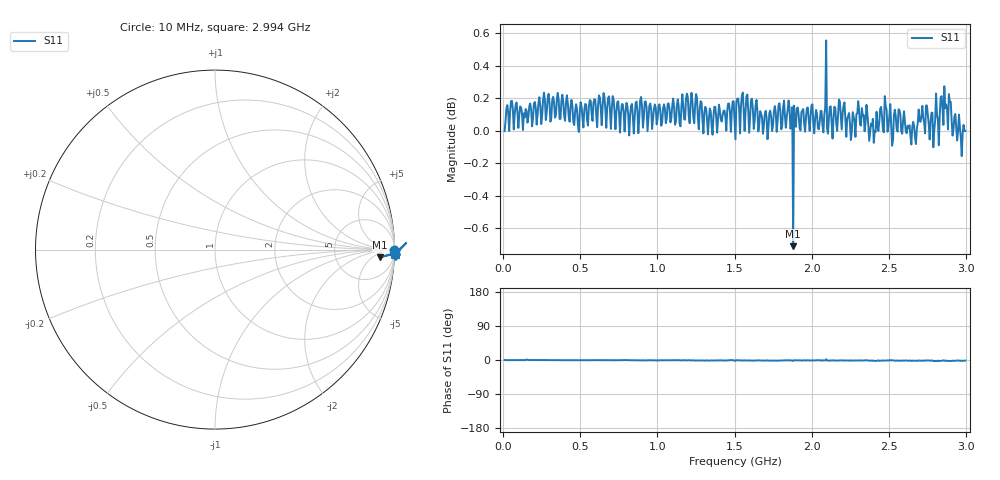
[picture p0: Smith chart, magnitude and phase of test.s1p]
# HZ S RI R 50
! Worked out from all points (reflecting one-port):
!   504 points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, 10 MHz to 2.994 GHz, reference 50 ohm
!   lowest |S11| = -0.7 dB at 1.879 GHz (marker M1), VSWR 24.44, Z = 928 - j522 ohm
!   phase of S11 starts at -0 deg and turns -1 deg over the sweep
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1e7  0.9997 -0.000436
1.583135e8  1.006 0.0174
3.8375e8  1.026 -0.0113
7.575e8  0.9986 -0.00662
9.117461e8  1.009 -0.0193
1.13125e9  1.022 -0.00484
1.303294e9  1.012 -0.0223
1.48127e9  1.014 -0.00873
1.505e9  0.9932 -0.0338
1.730437e9  1.014 -0.0306
1.849087e9  1.021 -0.0174
1.87875e9  0.9204 -0.0425
1.890615e9  1.005 -0.00785
1.896548e9  1.003 -0.0197
2.062659e9  1.014 -0.0285
2.080456e9  1.011 -0.02
2.110119e9  1.008 -0.0233
2.2525e9  0.9933 -0.0136
2.353353e9  1.018 -0.0172
2.412679e9  0.9979 -0.0488
2.513532e9  1.005 -0.0181
2.55506e9  0.9988 -0.0307
2.62625e9  1.001 -0.032
2.762699e9  0.9934 -0.0284
2.798294e9  1.006 -0.0583
2.845754e9  1.016 -0.0244
2.893214e9  1.019 -0.0453
2.994068e9  0.9995 -0.0247
